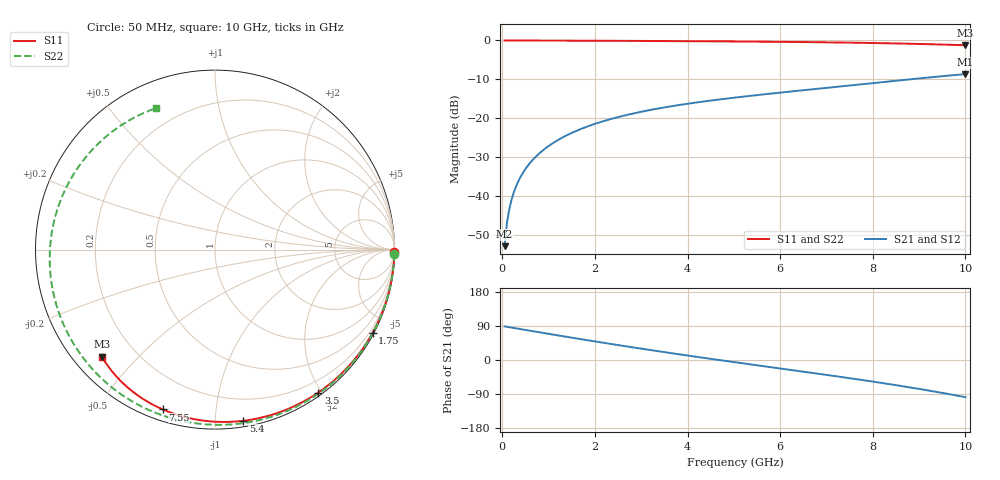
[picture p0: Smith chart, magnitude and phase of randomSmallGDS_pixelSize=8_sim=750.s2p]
! freq	dB(S11)	phase(S11)	dB(S12)	phase(S12)
!  dB(S21)	phase(S21)	dB(S22)	phase(S22)
!S-par simulation data
#  GHz  S  DB  R 50
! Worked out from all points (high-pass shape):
!   200 points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, 50 MHz to 10 GHz, reference 50 ohm
!   highest |S21| = -8.68 dB at 10 GHz (marker M1); lowest = -53.0 dB at 50 MHz (marker M2)
!   |S21| within 3 dB of the highest: 7.439 GHz to end of sweep
!   lowest |S11| = -1.2 dB at 10 GHz (marker M3), VSWR 14.19, Z = 4.08 - j19.8 ohm
!   |S11| at or under -10 dB: nowhere
!   |S22| runs from -1.4 to 0.0 dB; largest |S21 - S12| = 0
!   S11 on the Smith chart (normalised r, x): 50 MHz: open; 1.75 GHz: 0.06, -4.04; 3.5 GHz: 0.04, -1.95; 5.4 GHz: 0.04, -1.18; 7.55 GHz: 0.05, -0.72; 10 GHz: 0.08, -0.40
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0.05  -0.00 -0.8  -52.99 88.7  -52.99 88.7  -0.00 -1.3
0.1  -0.00 -1.6  -47.00 87.6  -47.00 87.6  -0.00 -2.6
0.15  -0.00 -2.4  -43.50 86.5  -43.50 86.5  -0.01 -3.8
0.2  -0.01 -3.2  -41.01 85.5  -41.01 85.5  -0.01 -5.1
0.35  -0.01 -5.6  -36.17 82.4  -36.17 82.4  -0.01 -8.9
0.5  -0.01 -8.0  -33.10 79.3  -33.10 79.3  -0.02 -12.7
0.7  -0.02 -11.2  -30.21 75.1  -30.21 75.1  -0.03 -17.8
1  -0.03 -16.0  -27.19 69.0  -27.19 69.0  -0.04 -25.3
1.75  -0.06 -27.8  -22.56 53.9  -22.56 53.9  -0.08 -43.9
2.6  -0.10 -40.8  -19.44 37.5  -19.44 37.5  -0.13 -64.2
3.4  -0.15 -52.7  -17.46 22.6  -17.46 22.6  -0.18 -82.7
3.5  -0.15 -54.2  -17.25 20.7  -17.25 20.7  -0.19 -84.9
4.25  -0.20 -64.9  -15.88 7.4  -15.88 7.4  -0.25 -101.7
5.05  -0.26 -76.0  -14.68 -6.4  -14.68 -6.4  -0.33 -119.2
5.4  -0.29 -80.7  -14.21 -12.3  -14.21 -12.3  -0.36 -126.8
6.05  -0.36 -89.2  -13.38 -23.2  -13.38 -23.2  -0.44 -141.1
6.7  -0.44 -97.6  -12.58 -34.1  -12.58 -34.1  -0.54 -155.7
7.55  -0.57 -108.1  -11.54 -48.8  -11.54 -48.8  -0.69 -175.8
8.35  -0.73 -117.8  -10.57 -63.5  -10.57 -63.5  -0.87 163.5
9.15  -0.94 -127.1  -9.60 -79.4  -9.60 -79.4  -1.10 140.5
9.6  -1.09 -132.2  -9.09 -89.0  -9.09 -89.0  -1.24 126.2
10  -1.23 -136.5  -8.68 -98.0  -8.68 -98.0  -1.37 112.6
